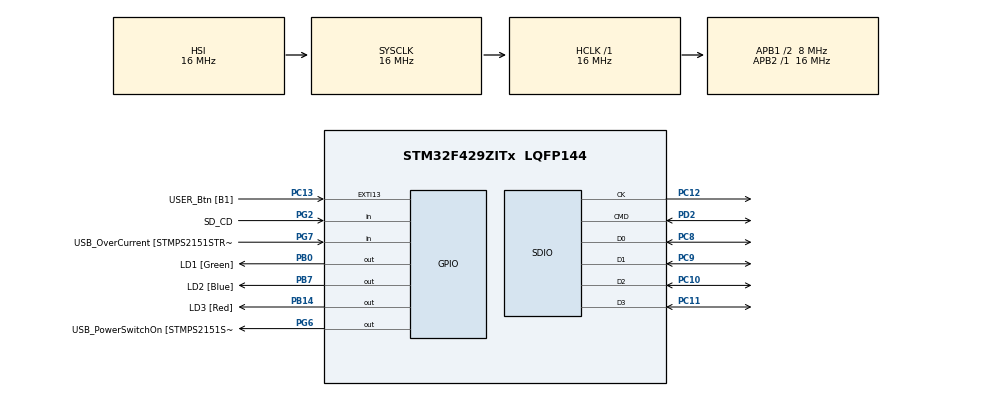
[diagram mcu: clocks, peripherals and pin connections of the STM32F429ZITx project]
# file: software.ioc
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FATFS.BSP.number=1
FATFS.USE_DMA_CODE_SD=0
FATFS._FS_EXFAT=1
FATFS._FS_LOCK=1
FATFS._USE_LFN=1
FATFS0.BSP.STBoard=false
FATFS0.BSP.api=Unknown
FATFS0.BSP.instance=PG2
FATFS0.BSP.ip=GPIO
FATFS0.BSP.mode=Input
FATFS0.BSP.name=Detect_SDIO
FATFS0.BSP.solution=PG2
Mcu.Family=STM32F4
Mcu.Name=STM32F429ZITx
Mcu.Package=LQFP144
NVIC.PriorityGroup=NVIC_PRIORITYGROUP_4
NVIC.SDIO_IRQn=true\:0\:0\:false\:false\:true\:true\:true\:true
PA1.GPIO_Label=RMII_REF_CLK [LAN8742A-CZ-TR_REFCLK0]
PA1.Signal=ETH_REF_CLK
PA10.GPIO_Label=USB_ID
PA10.Signal=USB_OTG_FS_ID
PA11.GPIO_Label=USB_DM
PA11.Signal=USB_OTG_FS_DM
PA12.GPIO_Label=USB_DP
PA12.Signal=USB_OTG_FS_DP
PA13.GPIO_Label=TMS
PA13.Signal=SYS_JTMS-SWDIO
PA14.GPIO_Label=TCK
PA14.Signal=SYS_JTCK-SWCLK
PA2.GPIO_Label=RMII_MDIO [LAN8742A-CZ-TR_MDIO]
PA2.Signal=ETH_MDIO
PA7.GPIO_Label=RMII_CRS_DV [LAN8742A-CZ-TR_CRS_DV]
PA7.Signal=ETH_CRS_DV
PA8.GPIO_Label=USB_SOF [TP1]
PA8.Signal=USB_OTG_FS_SOF
PA9.GPIO_Label=USB_VBUS
PA9.Signal=USB_OTG_FS_VBUS
PB0.GPIO_Label=LD1 [Green]
PB0.Signal=GPIO_Output
PB13.GPIO_Label=RMII_TXD1 [LAN8742A-CZ-TR_TXD1]
PB13.Signal=ETH_TXD1
PB14.GPIO_Label=LD3 [Red]
PB14.Signal=GPIO_Output
PB7.GPIO_Label=LD2 [Blue]
PB7.Signal=GPIO_Output
PC1.GPIO_Label=RMII_MDC [LAN8742A-CZ-TR_MDC]
PC1.Signal=ETH_MDC
PC10.Mode=SD_4_bits_Wide_bus
PC10.Signal=SDIO_D2
PC11.Mode=SD_4_bits_Wide_bus
PC11.Signal=SDIO_D3
PC12.Mode=SD_4_bits_Wide_bus
PC12.Signal=SDIO_CK
PC13.GPIO_Label=USER_Btn [B1]
PC13.Signal=GPXTI13
PC14/OSC32_IN.Signal=RCC_OSC32_IN
PC15/OSC32_OUT.Signal=RCC_OSC32_OUT
PC4.GPIO_Label=RMII_RXD0 [LAN8742A-CZ-TR_RXD0]
PC4.Signal=ETH_RXD0
PC5.GPIO_Label=RMII_RXD1 [LAN8742A-CZ-TR_RXD1]
PC5.Signal=ETH_RXD1
PC8.Mode=SD_4_bits_Wide_bus
PC8.Signal=SDIO_D0
PC9.Mode=SD_4_bits_Wide_bus
PC9.Signal=SDIO_D1
PD2.Mode=SD_4_bits_Wide_bus
PD2.Signal=SDIO_CMD
PD8.GPIO_Label=STLK_RX [STM32F103CBT6_PA3]
PD8.Signal=USART3_TX
PD9.GPIO_Label=STLK_TX [STM32F103CBT6_PA2]
PD9.Signal=USART3_RX
PG11.GPIO_Label=RMII_TX_EN [LAN8742A-CZ-TR_TXEN]
PG11.Signal=ETH_TX_EN
PG13.GPIO_Label=RMII_TXD0 [LAN8742A-CZ-TR_TXD0]
PG13.Signal=ETH_TXD0
PG2.GPIO_Label=SD_CD
PG2.Signal=GPIO_Input
PG6.GPIO_Label=USB_PowerSwitchOn [STMPS2151STR_EN]
PG6.Signal=GPIO_Output
PG7.GPIO_Label=USB_OverCurrent [STMPS2151STR_FAULT]
PG7.Signal=GPIO_Input
PH0/OSC_IN.GPIO_Label=MCO [STM32F103CBT6_PA8]
PH0/OSC_IN.Signal=RCC_OSC_IN
PH1/OSC_OUT.Signal=RCC_OSC_OUT
ProjectManager.HeapSize=0x400
ProjectManager.StackSize=0x800
ProjectManager.TargetToolchain=Makefile
RCC.48MHZClocksFreq_Value=48000000
RCC.AHBFreq_Value=16000000
RCC.APB1CLKDivider=RCC_HCLK_DIV2
RCC.APB1Freq_Value=8000000
RCC.APB1TimFreq_Value=16000000
RCC.APB2Freq_Value=16000000
RCC.APB2TimFreq_Value=16000000
RCC.CortexFreq_Value=16000000
RCC.HCLKFreq_Value=16000000
RCC.HSE_VALUE=8000000
RCC.HSI_VALUE=16000000
RCC.LSE_VALUE=32768
RCC.PLLMUL=RCC_PLL_MUL9
RCC.PRESCALERUSB=RCC_USBCLKSOURCE_PLL_DIV1_5
RCC.SYSCLKFreq_VALUE=16000000
RCC.SYSCLKSourceVirtual=RCC_SYSCLKSOURCE_PLLCLK
RCC.USBFreq_Value=48000000
RCC.VCOOutputFreq_Value=192000000
SDIO.ClockDiv=118
VP_FATFS_VS_SDIO.Mode=SDIO
board=NUCLEO-F429ZI

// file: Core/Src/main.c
/* USER CODE BEGIN Header */
/**
  ******************************************************************************
  * @file           : main.c
  * @brief          : Main program body
  ******************************************************************************
  * @attention
  *
  * Copyright (c) 2022 STMicroelectronics.
  * All rights reserved.
  *
  * This software is licensed under terms that can be found in the LICENSE file
  * in the root directory of this software component.
  * If no LICENSE file comes with this software, it is provided AS-IS.
  *
  ******************************************************************************
  */
/* USER CODE END Header */
#include "main.h"
#include "fatfs.h"

/* USER CODE BEGIN Includes */
#include <stdio.h>
/* USER CODE END Includes */

/* USER CODE BEGIN PD */
#define FATFS_BUFFER_SIZE 64
#define FATFS_DUMMY_DATA_SIZE 1024
/* USER CODE END PD */

SD_HandleTypeDef hsd;

/* USER CODE BEGIN PV */
static FRESULT fatfs_err;
static const unsigned char fatfs_dummy_data[FATFS_DUMMY_DATA_SIZE] = {0};
unsigned int fatfs_written_bytes;
/* USER CODE END PV */

void SystemClock_Config(void);
static void MX_GPIO_Init(void);
static void MX_SDIO_SD_Init(void);
/* USER CODE BEGIN PFP */
extern void initialise_monitor_handles(void);
/* USER CODE END PFP */

int main(void)
{
  /* USER CODE BEGIN 1 */
  initialise_monitor_handles();
  printf("main() entered\n");
  /* USER CODE END 1 */

  /* MCU Configuration--------------------------------------------------------*/

  /* Reset of all peripherals, Initializes the Flash interface and the Systick. */
  HAL_Init();

  /* Configure the system clock */
  SystemClock_Config();

  /* Initialize all configured peripherals */
  MX_GPIO_Init();
  MX_SDIO_SD_Init();
  MX_FATFS_Init();
  /* USER CODE BEGIN 2 */
  // Mount SD card drive
  if ((fatfs_err = f_mount(&SDFatFS, SDPath, 1))) {
    printf("failed to mount card, code: %i.\n", fatfs_err);
    if (fatfs_err != FR_NOT_READY) {
      printf("exiting.\n");
      exit(fatfs_err);
    }
    printf("continuing.\n");
  }

  // Open file
  if ((fatfs_err = f_open(&SDFile, "test.txt", FA_WRITE | FA_CREATE_ALWAYS))) {
    printf("failed to open file, code: %i.\n", fatfs_err);
    printf("exiting.\n");
    exit(fatfs_err);
  }

  // Write to file
  if ((fatfs_err = f_write(&SDFile,
                           fatfs_dummy_data,
                           FATFS_DUMMY_DATA_SIZE,
                           &fatfs_written_bytes))) {
    printf("failed to write file, code: %i\n", fatfs_err);
    printf("exiting.\n");
    exit(fatfs_err);
  }
  if (fatfs_written_bytes != FATFS_DUMMY_DATA_SIZE) {
    printf("wrote %i bytes, less than the expected %i.\n",
           fatfs_written_bytes, FATFS_DUMMY_DATA_SIZE);
  }

  // Close file
  if ((fatfs_err = f_close(&SDFile))) {
    printf("failed to close file, code: %i.\n", fatfs_err);
    printf("exiting.\n");
    exit(fatfs_err);
  }
  /* USER CODE END 2 */

  /* Infinite loop */
  /* USER CODE BEGIN WHILE */
  while (1)
  {
    // Open file
    /* USER CODE END WHILE */

    /* USER CODE BEGIN 3 */
    HAL_GPIO_TogglePin(LD3_GPIO_Port, LD3_Pin);
    HAL_Delay(500);
  }
  /* USER CODE END 3 */
}

void SystemClock_Config(void)
{
  RCC_OscInitTypeDef RCC_OscInitStruct = {0};
  RCC_ClkInitTypeDef RCC_ClkInitStruct = {0};

  /** Configure the main internal regulator output voltage
  */
  __HAL_RCC_PWR_CLK_ENABLE();
  __HAL_PWR_VOLTAGESCALING_CONFIG(PWR_REGULATOR_VOLTAGE_SCALE3);

  /** Initializes the RCC Oscillators according to the specified parameters
  * in the RCC_OscInitTypeDef structure.
  */
  RCC_OscInitStruct.OscillatorType = RCC_OSCILLATORTYPE_HSI;
  RCC_OscInitStruct.HSIState = RCC_HSI_ON;
  RCC_OscInitStruct.HSICalibrationValue = RCC_HSICALIBRATION_DEFAULT;
  RCC_OscInitStruct.PLL.PLLState = RCC_PLL_ON;
  RCC_OscInitStruct.PLL.PLLSource = RCC_PLLSOURCE_HSI;
  RCC_OscInitStruct.PLL.PLLM = 16;
  RCC_OscInitStruct.PLL.PLLN = 192;
  RCC_OscInitStruct.PLL.PLLP = RCC_PLLP_DIV2;
  RCC_OscInitStruct.PLL.PLLQ = 4;
  if (HAL_RCC_OscConfig(&RCC_OscInitStruct) != HAL_OK)
  {
    Error_Handler();
  }

  /** Initializes the CPU, AHB and APB buses clocks
  */
  RCC_ClkInitStruct.ClockType = RCC_CLOCKTYPE_HCLK|RCC_CLOCKTYPE_SYSCLK
                              |RCC_CLOCKTYPE_PCLK1|RCC_CLOCKTYPE_PCLK2;
  RCC_ClkInitStruct.SYSCLKSource = RCC_SYSCLKSOURCE_HSI;
  RCC_ClkInitStruct.AHBCLKDivider = RCC_SYSCLK_DIV1;
  RCC_ClkInitStruct.APB1CLKDivider = RCC_HCLK_DIV2;
  RCC_ClkInitStruct.APB2CLKDivider = RCC_HCLK_DIV1;

  if (HAL_RCC_ClockConfig(&RCC_ClkInitStruct, FLASH_LATENCY_0) != HAL_OK)
  {
    Error_Handler();
  }
}

static void MX_SDIO_SD_Init(void)
{

  hsd.Instance = SDIO;
  hsd.Init.ClockEdge = SDIO_CLOCK_EDGE_RISING;
  hsd.Init.ClockBypass = SDIO_CLOCK_BYPASS_DISABLE;
  hsd.Init.ClockPowerSave = SDIO_CLOCK_POWER_SAVE_DISABLE;
  hsd.Init.BusWide = SDIO_BUS_WIDE_1B;
  hsd.Init.HardwareFlowControl = SDIO_HARDWARE_FLOW_CONTROL_DISABLE;
  hsd.Init.ClockDiv = 118;

}

static void MX_GPIO_Init(void)
{
  GPIO_InitTypeDef GPIO_InitStruct = {0};

  /* GPIO Ports Clock Enable */
  __HAL_RCC_GPIOC_CLK_ENABLE();
  __HAL_RCC_GPIOH_CLK_ENABLE();
  __HAL_RCC_GPIOA_CLK_ENABLE();
  __HAL_RCC_GPIOB_CLK_ENABLE();
  __HAL_RCC_GPIOD_CLK_ENABLE();
  __HAL_RCC_GPIOG_CLK_ENABLE();

  /*Configure GPIO pin Output Level */
  HAL_GPIO_WritePin(GPIOB, LD1_Pin|LD3_Pin|LD2_Pin, GPIO_PIN_RESET);

  /*Configure GPIO pin Output Level */
  HAL_GPIO_WritePin(USB_PowerSwitchOn_GPIO_Port, USB_PowerSwitchOn_Pin, GPIO_PIN_RESET);

  /*Configure GPIO pin : USER_Btn_Pin */
  GPIO_InitStruct.Pin = USER_Btn_Pin;
  GPIO_InitStruct.Mode = GPIO_MODE_IT_RISING;
  GPIO_InitStruct.Pull = GPIO_NOPULL;
  HAL_GPIO_Init(USER_Btn_GPIO_Port, &GPIO_InitStruct);

  /*Configure GPIO pins : RMII_MDC_Pin RMII_RXD0_Pin RMII_RXD1_Pin */
  GPIO_InitStruct.Pin = RMII_MDC_Pin|RMII_RXD0_Pin|RMII_RXD1_Pin;
  GPIO_InitStruct.Mode = GPIO_MODE_AF_PP;
  GPIO_InitStruct.Pull = GPIO_NOPULL;
  GPIO_InitStruct.Speed = GPIO_SPEED_FREQ_VERY_HIGH;
  GPIO_InitStruct.Alternate = GPIO_AF11_ETH;
  HAL_GPIO_Init(GPIOC, &GPIO_InitStruct);

  /*Configure GPIO pins : RMII_REF_CLK_Pin RMII_MDIO_Pin RMII_CRS_DV_Pin */
  GPIO_InitStruct.Pin = RMII_REF_CLK_Pin|RMII_MDIO_Pin|RMII_CRS_DV_Pin;
  GPIO_InitStruct.Mode = GPIO_MODE_AF_PP;
  GPIO_InitStruct.Pull = GPIO_NOPULL;
  GPIO_InitStruct.Speed = GPIO_SPEED_FREQ_VERY_HIGH;
  GPIO_InitStruct.Alternate = GPIO_AF11_ETH;
  HAL_GPIO_Init(GPIOA, &GPIO_InitStruct);

  /*Configure GPIO pins : LD1_Pin LD3_Pin LD2_Pin */
  GPIO_InitStruct.Pin = LD1_Pin|LD3_Pin|LD2_Pin;
  GPIO_InitStruct.Mode = GPIO_MODE_OUTPUT_PP;
  GPIO_InitStruct.Pull = GPIO_NOPULL;
  GPIO_InitStruct.Speed = GPIO_SPEED_FREQ_LOW;
  HAL_GPIO_Init(GPIOB, &GPIO_InitStruct);

  /*Configure GPIO pin : RMII_TXD1_Pin */
  GPIO_InitStruct.Pin = RMII_TXD1_Pin;
  GPIO_InitStruct.Mode = GPIO_MODE_AF_PP;
  GPIO_InitStruct.Pull = GPIO_NOPULL;
  GPIO_InitStruct.Speed = GPIO_SPEED_FREQ_VERY_HIGH;
  GPIO_InitStruct.Alternate = GPIO_AF11_ETH;
  HAL_GPIO_Init(RMII_TXD1_GPIO_Port, &GPIO_InitStruct);

  /*Configure GPIO pins : STLK_RX_Pin STLK_TX_Pin */
  GPIO_InitStruct.Pin = STLK_RX_Pin|STLK_TX_Pin;
  GPIO_InitStruct.Mode = GPIO_MODE_AF_PP;
  GPIO_InitStruct.Pull = GPIO_NOPULL;
  GPIO_InitStruct.Speed = GPIO_SPEED_FREQ_VERY_HIGH;
  GPIO_InitStruct.Alternate = GPIO_AF7_USART3;
  HAL_GPIO_Init(GPIOD, &GPIO_InitStruct);

  /*Configure GPIO pins : SD_CD_Pin USB_OverCurrent_Pin */
  GPIO_InitStruct.Pin = SD_CD_Pin|USB_OverCurrent_Pin;
  GPIO_InitStruct.Mode = GPIO_MODE_INPUT;
  GPIO_InitStruct.Pull = GPIO_NOPULL;
  HAL_GPIO_Init(GPIOG, &GPIO_InitStruct);

  /*Configure GPIO pin : USB_PowerSwitchOn_Pin */
  GPIO_InitStruct.Pin = USB_PowerSwitchOn_Pin;
  GPIO_InitStruct.Mode = GPIO_MODE_OUTPUT_PP;
  GPIO_InitStruct.Pull = GPIO_NOPULL;
  GPIO_InitStruct.Speed = GPIO_SPEED_FREQ_LOW;
  HAL_GPIO_Init(USB_PowerSwitchOn_GPIO_Port, &GPIO_InitStruct);

  /*Configure GPIO pins : USB_SOF_Pin USB_ID_Pin USB_DM_Pin USB_DP_Pin */
  GPIO_InitStruct.Pin = USB_SOF_Pin|USB_ID_Pin|USB_DM_Pin|USB_DP_Pin;
  GPIO_InitStruct.Mode = GPIO_MODE_AF_PP;
  GPIO_InitStruct.Pull = GPIO_NOPULL;
  GPIO_InitStruct.Speed = GPIO_SPEED_FREQ_VERY_HIGH;
  GPIO_InitStruct.Alternate = GPIO_AF10_OTG_FS;
  HAL_GPIO_Init(GPIOA, &GPIO_InitStruct);

  /*Configure GPIO pin : USB_VBUS_Pin */
  GPIO_InitStruct.Pin = USB_VBUS_Pin;
  GPIO_InitStruct.Mode = GPIO_MODE_INPUT;
  GPIO_InitStruct.Pull = GPIO_NOPULL;
  HAL_GPIO_Init(USB_VBUS_GPIO_Port, &GPIO_InitStruct);

  /*Configure GPIO pins : RMII_TX_EN_Pin RMII_TXD0_Pin */
  GPIO_InitStruct.Pin = RMII_TX_EN_Pin|RMII_TXD0_Pin;
  GPIO_InitStruct.Mode = GPIO_MODE_AF_PP;
  GPIO_InitStruct.Pull = GPIO_NOPULL;
  GPIO_InitStruct.Speed = GPIO_SPEED_FREQ_VERY_HIGH;
  GPIO_InitStruct.Alternate = GPIO_AF11_ETH;
  HAL_GPIO_Init(GPIOG, &GPIO_InitStruct);

}

void Error_Handler(void)
{
  __disable_irq();
  while (1)
  {
  }
}

#ifdef  USE_FULL_ASSERT
/**
  * @brief  Reports the name of the source file and the source line number
  *         where the assert_param error has occurred.
  * @param  file: pointer to the source file name
  * @param  line: assert_param error line source number
  * @retval None
  */
void assert_failed(uint8_t *file, uint32_t line)
{
  /* USER CODE BEGIN 6 */
  /* User can add his own implementation to report the file name and
   * line number, eg:
   * printf("Wrong parameters value: file %s on line %d\r\n", file, line) */
  /* USER CODE END 6 */
}
#endif /* USE_FULL_ASSERT */
